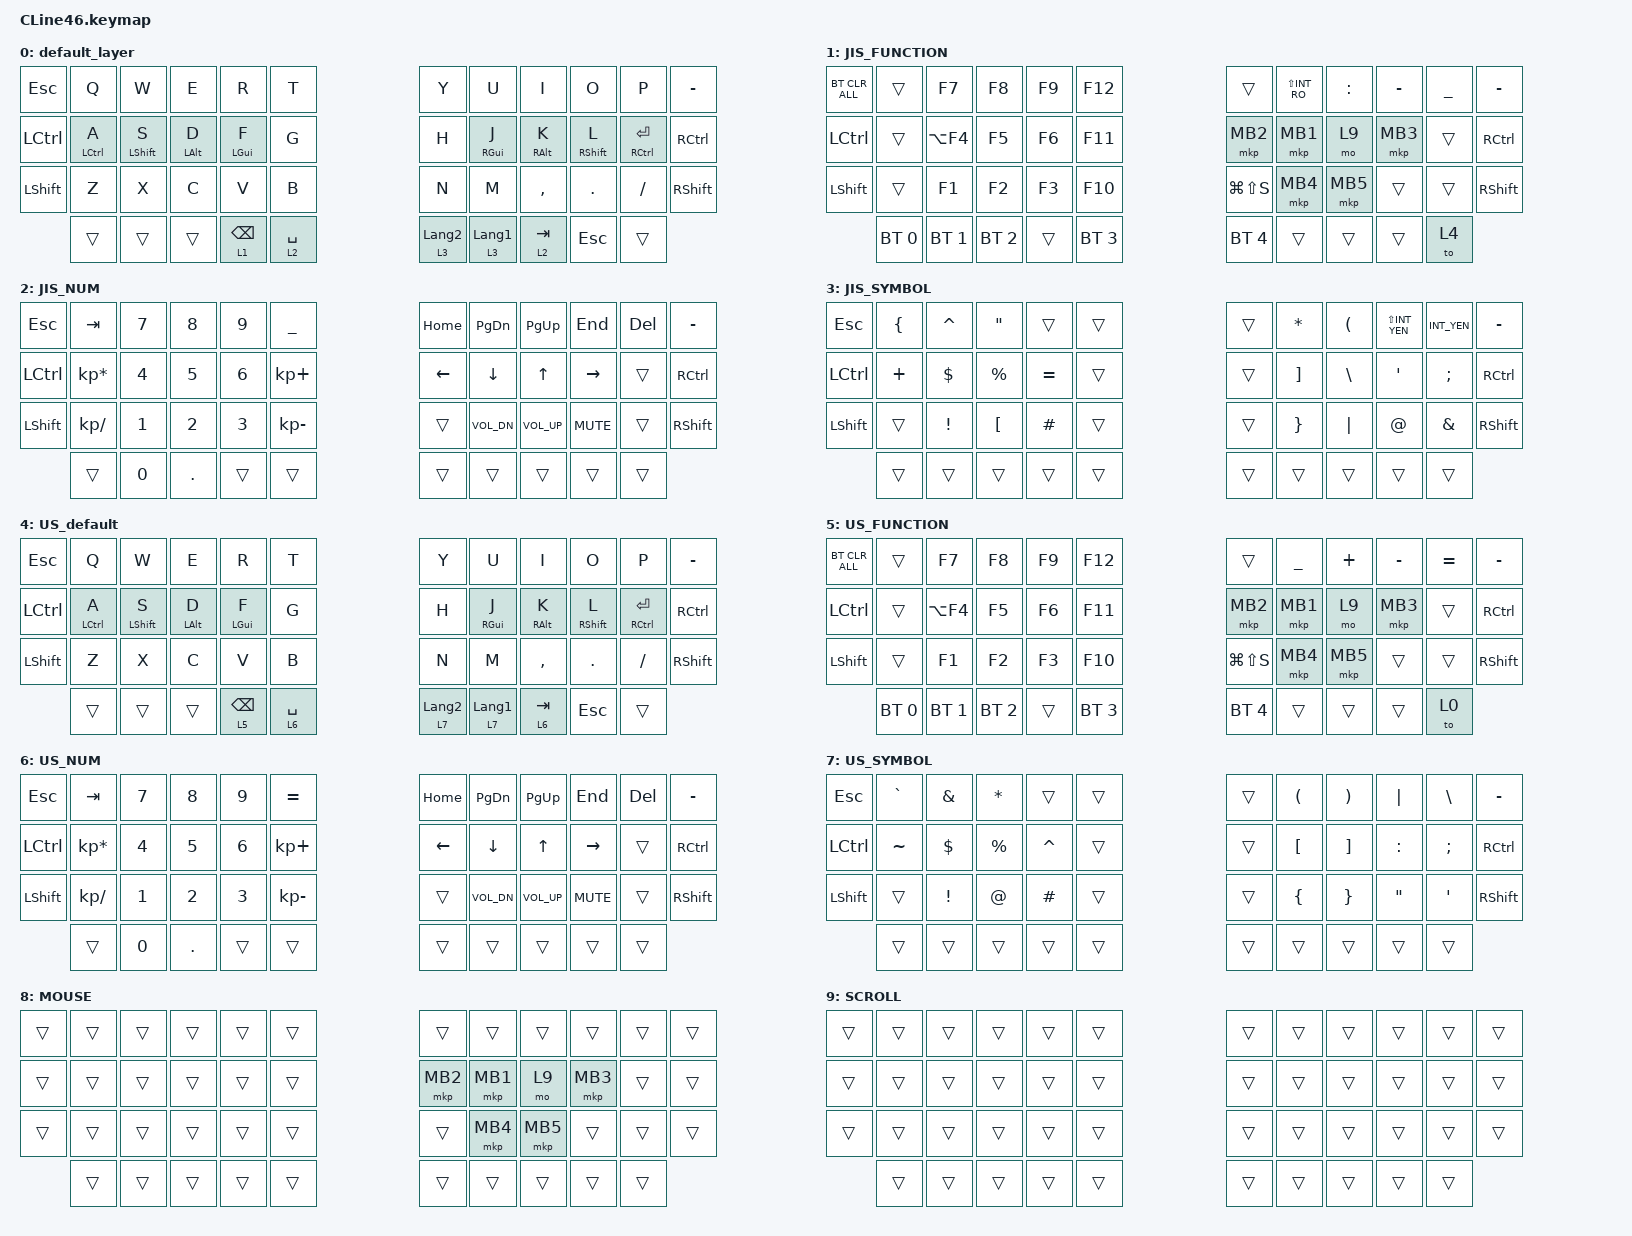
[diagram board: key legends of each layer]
#include <behaviors.dtsi>
#include <dt-bindings/zmk/bt.h>
#include <dt-bindings/zmk/keys.h>
#include <dt-bindings/zmk/pointing.h>

/*
 * Keymap ported from zmk-config-cool642tb.
 *
 * Layout differences handled here:
 *   - CLine46 has 46 keys (6 columns/side on rows 0-2, 6+4 thumbs); cool642tb
 *     has 43 keys (5 columns/side on row0, inner columns on rows 1-2).
 *   - The 5x3 alpha block maps 1:1. cool642tb inner-column keys are relocated.
 *   - CLine46 outer pinky columns are &trans, except the left home-row outer
 *     key holds the JIS<->US set toggle (&to 4 / &to 0).
 *   - Home-row mods (hm) on the base alphas: A/S/D/F = Ctrl/Shift/Alt/Gui,
 *     J/K/L/; = Gui/Alt/Shift/Ctrl (mirrored).
 *   - cool642tb MOUSE layer is merged into the FUNCTION layers: &mkp buttons
 *     live on the right hand, so lt1/lt5 give cursor + click.
 *   - MOUSE layer (8) is a dedicated auto-mouse target (trackball movement
 *     activates it via temp-layer; see CLine46_R.overlay). Only &mkp buttons
 *     plus &mo 9 (scroll); everything else transparent.
 *   - SCROLL layer (9) is held via &mo 9 (on the FUNCTION and MOUSE layers) to
 *     turn the trackball into scroll input; BT controls live on FUNCTION.
 *   - sensor-bindings removed (CLine46 has no rotary encoder).
 *
 * Layers: 0 default(JIS) 1 JIS_FUNCTION 2 JIS_NUM 3 JIS_SYMBOL
 *         4 US_default    5 US_FUNCTION  6 US_NUM  7 US_SYMBOL
 *         8 MOUSE (auto-mouse target)    9 SCROLL
 */

#define JP_DQT          AT                // "
#define JP_AMPERSAND    CARET             // &
#define JP_SQT          AMPERSAND         // '
#define JP_EQUAL        UNDER             // =
#define JP_CARET        EQUAL             // ^
#define JP_YEN          INT_YEN           // ¥
#define JP_PLUS         COLON             // +
#define JP_TILDE        PLUS              // ~
#define JP_PIPE         LS(INT_YEN)       // |
#define JP_AT           LEFT_BRACKET      // @
#define JP_COLON        SINGLE_QUOTE      // :
#define JP_ASTERISK     DOUBLE_QUOTES     // *
#define JP_BACKQUOTE    LEFT_BRACE        // `
#define JP_UNDERSCORE   LS(INT_RO)        // _
#define JP_LBRACKET     RIGHT_BRACKET     // [
#define JP_RBRACKET     BACKSLASH         // ]
#define JP_LPAREN       ASTERISK          // (
#define JP_RPAREN       LEFT_PARENTHESIS  // )
#define JP_LBRACE       RIGHT_BRACE       // {
#define JP_RBRACE       PIPE              // }

&mt {
    flavor = "balanced";
    quick-tap-ms = <0>;
};

/ {
    behaviors {
        hm: home_row_mods {
            compatible = "zmk,behavior-hold-tap";
            #binding-cells = <2>;
            tapping-term-ms = <200>;
            quick-tap-ms = <175>;
            flavor = "balanced";
            bindings = <&kp>, <&kp>;
        };
    };

    combos {
        compatible = "zmk,combos";

        comb_tab {
            bindings = <&kp TAB>;
            key-positions = <13 14>;        // A + S
        };

        comb_esc {
            bindings = <&kp ESCAPE>;
            key-positions = <1 2>;          // Q + W
        };

        comb_caps {
            bindings = <&kp CAPSLOCK>;
            key-positions = <25 26>;        // Z + X
        };

        comb_bspc {
            bindings = <&kp BACKSPACE>;
            key-positions = <9 10>;         // O + P
        };
    };

    keymap {
        compatible = "zmk,keymap";

        default_layer {
            bindings = <
&kp ESC    &kp Q       &kp W       &kp E      &kp R      &kp T                                          &kp Y   &kp U      &kp I      &kp O       &kp P           &kp MINUS
&kp LCTRL  &hm LCTRL A &hm LSHFT S &hm LALT D &hm LGUI F &kp G                                          &kp H   &hm RGUI J &hm RALT K &hm RSHFT L &hm RCTRL ENTER &kp RCTRL
&kp LSHIFT &kp Z       &kp X       &kp C      &kp V      &kp B                                          &kp N   &kp M      &kp COMMA  &kp DOT     &kp SLASH       &kp RSHIFT
           &trans      &trans      &trans     &lt 1 BSPC &lt 2 SPACE  &lt 3 LANGUAGE_2 &lt 3 LANGUAGE_1 &lt 2 TAB                     &kp ESC     &trans
            >;
        };

        JIS_FUNCTION {
            bindings = <
&bt BT_CLR_ALL &trans       &kp F7       &kp F8       &kp F9 &kp F12                                      &trans         &kp JP_UNDERSCORE &kp JP_PLUS &kp MINUS      &kp JP_EQUAL &kp MINUS
&kp LCTRL      &trans       &kp LA(F4)   &kp F5       &kp F6 &kp F11                                      &mkp MB2       &mkp MB1          &mo 9       &mkp MB3       &trans       &kp RCTRL
&kp LSHIFT     &trans       &kp F1       &kp F2       &kp F3 &kp F10                                      &kp LG(LS(S))  &mkp MB4          &mkp MB5    &trans         &trans       &kp RSHIFT
               &bt BT_SEL 0 &bt BT_SEL 1 &bt BT_SEL 2 &trans &bt BT_SEL 3 &bt BT_SEL 4          &trans    &trans                                       &trans         &to 4
            >;
        };

        JIS_NUM {
            bindings = <
&kp ESC    &kp TAB         &kp N7 &kp N8     &kp N9 &kp JP_EQUAL                                  &kp HOME &kp PAGE_DOWN &kp PAGE_UP  &kp END    &kp DELETE &kp MINUS
&kp LCTRL  &kp KP_ASTERISK &kp N4 &kp N5     &kp N6 &kp KP_PLUS                                   &kp LEFT &kp DOWN      &kp UP       &kp RIGHT  &trans     &kp RCTRL
&kp LSHIFT &kp KP_SLASH    &kp N1 &kp N2     &kp N3 &kp KP_MINUS                                  &trans   &kp C_VOL_DN  &kp C_VOL_UP &kp K_MUTE &trans     &kp RSHIFT
           &trans          &kp N0 &kp PERIOD &trans &trans       &trans                &trans     &trans                              &trans     &trans
            >;
        };

        JIS_SYMBOL {
            bindings = <
&kp ESC    &kp JP_BACKQUOTE &kp JP_AMPERSAND &kp JP_ASTERISK &trans       &trans                      &trans  &kp JP_LPAREN   &kp JP_RPAREN   &kp JP_PIPE  &kp JP_YEN &kp MINUS
&kp LCTRL  &kp JP_TILDE     &kp DLLR         &kp PRCNT       &kp JP_CARET &trans                      &trans  &kp JP_LBRACKET &kp JP_RBRACKET &kp JP_COLON &kp SEMI   &kp RCTRL
&kp LSHIFT &trans           &kp EXCL         &kp JP_AT       &kp HASH     &trans                      &trans  &kp JP_LBRACE   &kp JP_RBRACE   &kp JP_DQT   &kp JP_SQT &kp RSHIFT
           &trans           &trans           &trans          &trans       &trans   &trans    &trans   &trans                                  &trans       &trans
            >;
        };

        US_default {
            bindings = <
&kp ESC    &kp Q       &kp W       &kp E      &kp R      &kp T                                          &kp Y   &kp U      &kp I      &kp O       &kp P           &kp MINUS
&kp LCTRL  &hm LCTRL A &hm LSHFT S &hm LALT D &hm LGUI F &kp G                                          &kp H   &hm RGUI J &hm RALT K &hm RSHFT L &hm RCTRL ENTER &kp RCTRL
&kp LSHIFT &kp Z       &kp X       &kp C      &kp V      &kp B                                          &kp N   &kp M      &kp COMMA  &kp DOT     &kp SLASH       &kp RSHIFT
           &trans      &trans      &trans     &lt 5 BSPC &lt 6 SPACE  &lt 7 LANGUAGE_2 &lt 7 LANGUAGE_1 &lt 6 TAB                     &kp ESC     &trans
            >;
        };

        US_FUNCTION {
            bindings = <
&bt BT_CLR_ALL &trans       &kp F7       &kp F8       &kp F9 &kp F12                                      &trans        &kp UNDERSCORE &kp PLUS &kp MINUS      &kp EQUAL &kp MINUS
&kp LCTRL      &trans       &kp LA(F4)   &kp F5       &kp F6 &kp F11                                      &mkp MB2      &mkp MB1       &mo 9    &mkp MB3       &trans    &kp RCTRL
&kp LSHIFT     &trans       &kp F1       &kp F2       &kp F3 &kp F10                                      &kp LG(LS(S)) &mkp MB4       &mkp MB5 &trans         &trans    &kp RSHIFT
               &bt BT_SEL 0 &bt BT_SEL 1 &bt BT_SEL 2 &trans &bt BT_SEL 3 &bt BT_SEL 4          &trans    &trans                                &trans         &to 0
            >;
        };

        US_NUM {
            bindings = <
&kp ESC    &kp TAB         &kp N7 &kp N8     &kp N9 &kp EQUAL                                     &kp HOME &kp PAGE_DOWN &kp PAGE_UP  &kp END    &kp DELETE &kp MINUS
&kp LCTRL  &kp KP_ASTERISK &kp N4 &kp N5     &kp N6 &kp KP_PLUS                                   &kp LEFT &kp DOWN      &kp UP       &kp RIGHT  &trans     &kp RCTRL
&kp LSHIFT &kp KP_SLASH    &kp N1 &kp N2     &kp N3 &kp KP_MINUS                                  &trans   &kp C_VOL_DN  &kp C_VOL_UP &kp K_MUTE &trans     &kp RSHIFT
           &trans          &kp N0 &kp PERIOD &trans &trans       &trans                &trans     &trans                                         &trans     &trans
            >;
        };

        US_SYMBOL {
            bindings = <
&kp ESC    &kp GRAVE &kp AMPS &kp STAR  &trans    &trans                                              &trans  &kp LPAR &kp RPAR &kp PIPE  &kp BSLH &kp MINUS
&kp LCTRL  &kp TILDE &kp DLLR &kp PRCNT &kp CARET &trans                                              &trans  &kp LBKT &kp RBKT &kp COLON &kp SEMI &kp RCTRL
&kp LSHIFT &trans    &kp EXCL &kp AT    &kp HASH  &trans                                              &trans  &kp LBRC &kp RBRC &kp DQT   &kp SQT  &kp RSHIFT
           &trans    &trans   &trans   &trans     &trans       &trans                &trans           &trans                    &trans    &trans
            >;
        };

        // オートマウス専用レイヤー(temp-layer のターゲット)。
        // MB ボタンと &mo 9(スクロール起動)のみ。他は素通し。
        MOUSE {
            bindings = <
&trans     &trans  &trans   &trans   &trans      &trans                                               &trans   &trans   &trans   &trans   &trans &trans
&trans     &trans  &trans   &trans   &trans      &trans                                               &mkp MB2 &mkp MB1 &mo 9    &mkp MB3 &trans &trans
&trans     &trans  &trans   &trans   &trans      &trans                                               &trans   &mkp MB4 &mkp MB5 &trans   &trans &trans
           &trans  &trans   &trans   &trans      &trans       &trans                &trans            &trans                   &trans  &trans
            >;
        };

        // Held via &mo 9 on the FUNCTION layers; while active the trackball
        // scrolls (see the scroller node in CLine46_R.overlay). All keys are
        // transparent so the underlying layer stays usable.
        SCROLL {
            bindings = <
&trans     &trans  &trans   &trans   &trans  &trans                                               &trans  &trans  &trans  &trans  &trans  &trans
&trans     &trans  &trans   &trans   &trans  &trans                                               &trans  &trans  &trans  &trans  &trans  &trans
&trans     &trans  &trans   &trans   &trans  &trans                                               &trans  &trans  &trans  &trans  &trans  &trans
           &trans  &trans   &trans   &trans  &trans       &trans                &trans            &trans                  &trans  &trans
            >;
        };
    };
};
